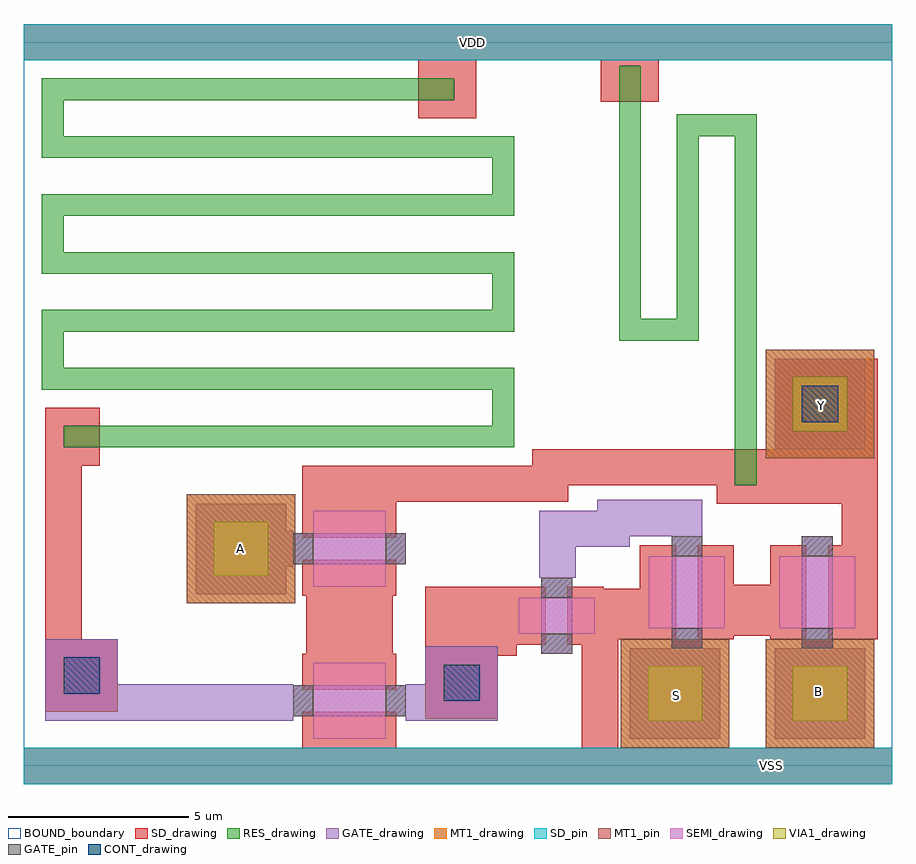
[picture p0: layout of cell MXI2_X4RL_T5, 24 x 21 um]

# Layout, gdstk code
from math import pi, radians
import gdstk
lib = gdstk.Library(unit=1e-6, precision=1e-09)
def R(c, l, rs):  # rectangles x0, y0, x1, y1
    for r in rs: c.add(gdstk.rectangle(r[:2], r[2:], *l))
def P(c, l, *ps):  # polygons
    for p in ps: c.add(gdstk.Polygon(p, *l))
RES_drawing = (1, 0)
SEMI_drawing = (3, 0)
SD_drawing = (10, 0)
SD_pin = (10, 3)
GATE_drawing = (11, 0)
GATE_pin = (11, 3)
MT1_drawing = (20, 0)
MT1_pin = (20, 3)
CONT_drawing = (30, 0)
VIA1_drawing = (41, 0)
BOUND_boundary = (150, 5)

nch_cdns_772544987070 = lib.new_cell('nch_CDNS_772544987070')
R(nch_cdns_772544987070, SEMI_drawing, [(-1.05,-1,1.05,1)])
R(nch_cdns_772544987070, SD_drawing, [(-1.3,-1.3,-0.3,1.3), (0.3,-1.3,1.3,1.3)])
R(nch_cdns_772544987070, GATE_drawing, [(-0.425,-1.55,0.425,1.55)])
R(nch_cdns_772544987070, GATE_pin, [(-0.425,-1.55,0.425,-1), (-0.425,1,0.425,1.55)])

nch_cdns_772544987071 = lib.new_cell('nch_CDNS_772544987071')
R(nch_cdns_772544987071, SEMI_drawing, [(-1.05,-0.5,1.05,0.5)])
R(nch_cdns_772544987071, SD_drawing, [(-1.3,-0.8,-0.3,0.8), (0.3,-0.8,1.3,0.8)])
R(nch_cdns_772544987071, GATE_drawing, [(-0.425,-1.05,0.425,1.05)])
R(nch_cdns_772544987071, GATE_pin, [(-0.425,-1.05,0.425,-0.5), (-0.425,0.5,0.425,1.05)])

nch_cdns_772544987072 = lib.new_cell('nch_CDNS_772544987072')
R(nch_cdns_772544987072, SEMI_drawing, [(-1.05,-1,1.05,1)])
R(nch_cdns_772544987072, SD_drawing, [(-1.3,-1.3,-0.3,1.3), (0.3,-1.3,1.3,1.3)])
R(nch_cdns_772544987072, GATE_drawing, [(-0.425,-1.55,0.425,1.55)])
R(nch_cdns_772544987072, GATE_pin, [(-0.425,-1.55,0.425,-1), (-0.425,1,0.425,1.55)])

nch_cdns_772544987073 = lib.new_cell('nch_CDNS_772544987073')
R(nch_cdns_772544987073, SEMI_drawing, [(-1.05,-1,1.05,1)])
R(nch_cdns_772544987073, SD_drawing, [(-1.3,-1.3,-0.3,1.3), (0.3,-1.3,1.3,1.3)])
R(nch_cdns_772544987073, GATE_drawing, [(-0.425,-1.55,0.425,1.55)])
R(nch_cdns_772544987073, GATE_pin, [(-0.425,-1.55,0.425,-1), (-0.425,1,0.425,1.55)])

sd_gate_cdns_77254498707 = lib.new_cell('SD_GATE_CDNS_772544987070')
R(sd_gate_cdns_77254498707, SD_drawing, [(-1,-1,1,1)])
R(sd_gate_cdns_77254498707, GATE_drawing, [(-1,-1,1,1)])
R(sd_gate_cdns_77254498707, CONT_drawing, [(-0.5,-0.5,0.5,0.5)])

gate_mt1_cdns_7725449870 = lib.new_cell('GATE_MT1_CDNS_772544987071')
R(gate_mt1_cdns_7725449870, GATE_drawing, [(-1.25,-1.25,1.25,1.25)])
R(gate_mt1_cdns_7725449870, MT1_drawing, [(-1.25,-1.25,1.25,1.25)])
R(gate_mt1_cdns_7725449870, VIA1_drawing, [(-0.75,-0.75,0.75,0.75)])

mxi2_x4rl_t5 = lib.new_cell('MXI2_X4RL_T5')
R(mxi2_x4rl_t5, SD_drawing, [(7.8,2.6,10.2,4.7), (19.15,7.25,22.6,8.75), (0.6,8.3,2.1,9.9), (20.75,8.75,23.25,11.25), (10.9,17.9,12.5,19.5), (15.95,18.35,17.55,20)])
R(mxi2_x4rl_t5, SD_pin, [(0,-0.5,24,0.5), (0,19.5,24,20.5)])
P(mxi2_x4rl_t5, GATE_drawing, [(7.35,6.5),(7.35,5.5),(7.45,5.5),(7.45,5.625),(7.5,5.625),(7.5,6.375),(7.45,6.375),(7.45,6.5)],
  [(10.65,1.25),(10.65,2.25),(10.55,2.25),(10.55,2.175),(10.5,2.175),(10.5,1.425),(10.55,1.425),(10.55,1.25)],
  [(15.25,5.3),(14.25,5.3),(14.25,5.2),(14.35,5.2),(14.35,5.15),(15.1,5.15),(15.1,5.2),(15.25,5.2)],
  [(7.35,2.25),(7.35,1.25),(7.45,1.25),(7.45,1.425),(7.5,1.425),(7.5,2.175),(7.45,2.175),(7.45,2.25)],
  [(17.8,3.15),(18.8,3.15),(18.8,3.25),(18.7,3.25),(18.7,3.3),(17.95,3.3),(17.95,3.25),(17.8,3.25)],
  [(18.75,6.45),(17.85,6.45),(17.85,6.35),(17.95,6.35),(17.95,6.3),(18.7,6.3),(18.7,6.35),(18.75,6.35)],
  [(21.4,3.15),(22.4,3.15),(22.4,3.25),(22.3,3.25),(22.3,3.3),(21.55,3.3),(21.55,3.25),(21.4,3.25)])
R(mxi2_x4rl_t5, MT1_drawing, [(16.5,0.5,19.5,3.5), (20.5,0.5,23.5,3.5), (4.5,4.5,7.5,7.5), (20.5,8.5,23.5,11.5)])
R(mxi2_x4rl_t5, MT1_pin, [(16.5,0.5,19.5,3.5), (20.5,0.5,23.5,3.5), (4.5,4.5,7.5,7.5), (20.5,8.5,23.5,11.5)])
R(mxi2_x4rl_t5, BOUND_boundary, [(0,0,24,20)])
mxi2_x4rl_t5.add(gdstk.FlexPath([(1.1,8.3),(1.1,4.5)], 1, ends=(0, 1), simple_path=True, layer=10, datatype=0))  # SD_drawing
mxi2_x4rl_t5.add(gdstk.FlexPath([(14.05,8.25),(19.15,8.25)], 1, ends="flush", simple_path=True, layer=10, datatype=0))  # SD_drawing
mxi2_x4rl_t5.add(gdstk.FlexPath([(8.2,7.8),(15.05,7.8)], 1, ends=(0.5, 0), simple_path=True, layer=10, datatype=0))  # SD_drawing
mxi2_x4rl_t5.add(gdstk.FlexPath([(0,20),(24,20)], 1, ends="flush", simple_path=True, layer=10, datatype=0))  # SD_drawing
mxi2_x4rl_t5.add(gdstk.FlexPath([(16.525,4.2),(17.025,4.2)], 1.4, ends=(0.5, 0), simple_path=True, layer=10, datatype=0))  # SD_drawing
mxi2_x4rl_t5.add(gdstk.FlexPath([(15.925,1),(15.925,2.8)], 1, ends=(0.5, 0.7), simple_path=True, layer=10, datatype=0))  # SD_drawing
mxi2_x4rl_t5.add(gdstk.FlexPath([(20.625,4.3),(19.625,4.3)], 1.4, ends="flush", simple_path=True, layer=10, datatype=0))  # SD_drawing
mxi2_x4rl_t5.add(gdstk.FlexPath([(13.625,3.75),(11.1,3.75)], 1.4, ends="flush", simple_path=True, layer=10, datatype=0))  # SD_drawing
mxi2_x4rl_t5.add(gdstk.FlexPath([(13.625,4.25),(11.1,4.25)], 1.4, ends="flush", simple_path=True, layer=10, datatype=0))  # SD_drawing
mxi2_x4rl_t5.add(gdstk.FlexPath([(23.1,10.75),(23.1,3.5)], 1, ends=(0.5, 0), simple_path=True, layer=10, datatype=0))  # SD_drawing
mxi2_x4rl_t5.add(gdstk.FlexPath([(0,0),(24,0)], 1, ends="flush", simple_path=True, layer=10, datatype=0))  # SD_drawing
mxi2_x4rl_t5.add(gdstk.FlexPath([(16.75,6.55),(14.75,6.55)], 1, ends=(0, 0.5), simple_path=True, layer=11, datatype=0))  # GATE_drawing
mxi2_x4rl_t5.add(gdstk.FlexPath([(7.35,1.75),(1.1,1.75)], 1, ends=(0, 0.5), simple_path=True, layer=11, datatype=0))  # GATE_drawing
mxi2_x4rl_t5.add(gdstk.FlexPath([(11.15,1.75),(13.1,1.75)], 1, ends=(0.5, 0), simple_path=True, layer=11, datatype=0))  # GATE_drawing
mxi2_x4rl_t5.add(gdstk.FlexPath([(7.35,6),(7.25,6)], 1, ends="flush", simple_path=True, layer=11, datatype=0))  # GATE_drawing
mxi2_x4rl_t5.add(gdstk.FlexPath([(18.25,6.85),(15.85,6.85)], 1, ends=(0.5, 0), simple_path=True, layer=11, datatype=0))  # GATE_drawing
mxi2_x4rl_t5.add(gdstk.FlexPath([(14.75,6.55),(14.75,5.3)], 1, ends=(0.5, 0), simple_path=True, layer=11, datatype=0))  # GATE_drawing
mxi2_x4rl_t5.add(gdstk.FlexPath([(10.9,18.7),(0.8,18.7),(0.8,17.1),(13.25,17.1),(13.25,15.5),(0.8,15.5),(0.8,13.9),(13.25,13.9),(13.25,12.3),(0.8,12.3),(0.8,10.7),(13.25,10.7),(13.25,9.1),(2.1,9.1)], 0.6, ends=(1, 1), simple_path=True, layer=1, datatype=0))  # RES_drawing
mxi2_x4rl_t5.add(gdstk.FlexPath([(16.75,19.35),(16.75,12.05),(18.35,12.05),(18.35,17.7),(19.95,17.7),(19.95,7.75)], 0.6, ends="flush", simple_path=True, layer=1, datatype=0))  # RES_drawing
mxi2_x4rl_t5.add(gdstk.Reference(nch_cdns_772544987070, (9,6), rotation=pi/2, x_reflection=True))
mxi2_x4rl_t5.add(gdstk.Reference(nch_cdns_772544987071, (14.725,4.15), rotation=pi, x_reflection=True))
mxi2_x4rl_t5.add(gdstk.Reference(nch_cdns_772544987072, (18.325,4.8)))
mxi2_x4rl_t5.add(gdstk.Reference(nch_cdns_772544987072, (21.925,4.8)))
mxi2_x4rl_t5.add(gdstk.Reference(nch_cdns_772544987073, (9,1.8), rotation=pi/2, x_reflection=True))
mxi2_x4rl_t5.add(gdstk.Reference(sd_gate_cdns_77254498707, (22,10)))
mxi2_x4rl_t5.add(gdstk.Reference(sd_gate_cdns_77254498707, (1.6,2.5)))
mxi2_x4rl_t5.add(gdstk.Reference(sd_gate_cdns_77254498707, (12.1,2.3)))
mxi2_x4rl_t5.add(gdstk.Reference(gate_mt1_cdns_7725449870, (22,10)))
mxi2_x4rl_t5.add(gdstk.Reference(gate_mt1_cdns_7725449870, (22,2)))
mxi2_x4rl_t5.add(gdstk.Reference(gate_mt1_cdns_7725449870, (18,2)))
mxi2_x4rl_t5.add(gdstk.Reference(gate_mt1_cdns_7725449870, (6,6)))
mxi2_x4rl_t5.add(gdstk.Label('Y', (22.05,9.95), layer=20, texttype=3))
mxi2_x4rl_t5.add(gdstk.Label('B', (21.95,2.05), layer=20, texttype=3))
mxi2_x4rl_t5.add(gdstk.Label('S', (18.05,1.95), layer=20, texttype=3))
mxi2_x4rl_t5.add(gdstk.Label('A', (6,6), layer=20, texttype=3))
mxi2_x4rl_t5.add(gdstk.Label('VDD', (12.4,20), layer=10, texttype=3))
mxi2_x4rl_t5.add(gdstk.Label('VSS', (20.65,0), layer=10, texttype=3))

lib.write_gds('MXI2_X4RL_T5.gds')
